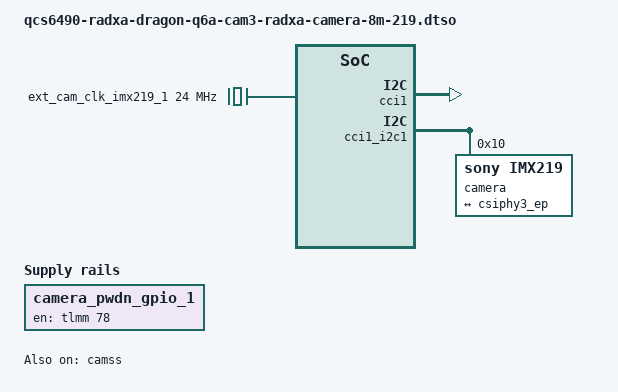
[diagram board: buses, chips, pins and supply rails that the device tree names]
// SPDX-License-Identifier: BSD-3-Clause
/*
 * Copyright (c) 2025 Radxa Computer (Shenzhen) Co., Ltd.
 */

/dts-v1/;
/plugin/;

#include <dt-bindings/clock/qcom,camcc-sc7280.h>
#include <dt-bindings/gpio/gpio.h>

&{/} {
	ext_cam_clk_imx219_1: ext-cam-clk-imx219-1 {
		status = "okay";
		compatible = "fixed-clock";
		clock-frequency = <24000000>;
		clock-output-names = "ext_cam_clk_imx219_1";
		#clock-cells = <0>;
	};

	camera_pwdn_gpio_1: camera-pwdn-gpio-1 {
		status = "okay";
		compatible = "regulator-fixed";
		regulator-name = "camera_pwdn_gpio_1";
		regulator-always-on;
		regulator-boot-on;
		enable-active-high;
		gpios = <&tlmm 78 GPIO_ACTIVE_HIGH>;
		pinctrl-names = "default";
		pinctrl-0 = <&cam_pwdn_gpio_1>;
	};
};

&{/reserved-memory} {
	linux,cma {
		compatible = "shared-dma-pool";
		size = <0x0 0x8000000>;
		reusable;
		linux,cma-default;
	};
};

&camss {
	vdda-phy-supply = <&vreg_l10c_0p88>;
	vdda-pll-supply = <&vreg_l6b_1p2>;

	status = "okay";

	ports {
		#address-cells = <1>;
		#size-cells = <0>;

		/* The port index denotes CSIPHY id i.e. csiphy3 */
		port@3 {
			reg = <3>;

			csiphy3_ep: endpoint {
				clock-lanes = <7>;
				data-lanes = <0 1>;
				remote-endpoint = <&imx219_1_ep>;
			};
		};
	};
};

&cci1 {
	status = "okay";
};

&cci1_i2c1 {
	#address-cells = <1>;
	#size-cells = <0>;
	status = "okay";

	camera@10 {
		compatible = "sony,imx219";
		reg = <0x10>;
		clocks = <&ext_cam_clk_imx219_1>;
		clock-names = "ext_cam_clk_imx219_1";

		port {
			imx219_1_ep: endpoint {
				link-frequencies = /bits/ 64 <456000000>;
				data-lanes = <1 2>;
				remote-endpoint = <&csiphy3_ep>;
			};
		};
	};
};

&tlmm {
	cam_pwdn_gpio_1: cam-pwdn-gpio-1-state {
		pins = "gpio78";
		function = "gpio";
		drive-strength = <2>;
		bias-pull-up;
	};
};
